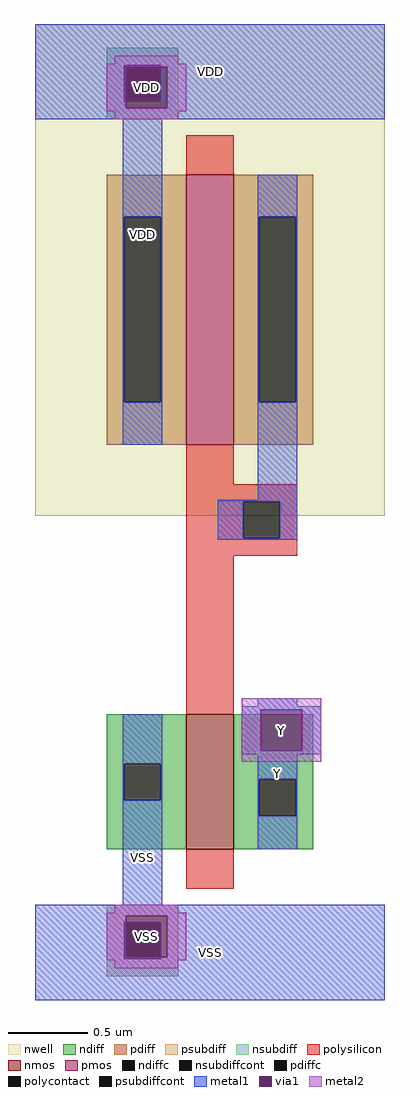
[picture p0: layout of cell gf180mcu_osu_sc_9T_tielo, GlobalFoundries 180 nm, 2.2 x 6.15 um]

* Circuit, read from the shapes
.subckt gf180mcu_osu_sc_9T_tielo Y VDD VSS
XM1 Y n1 VSS VSS nfet_03v3 w=0.85u l=0.3u
XM2 n1 n1 VDD VDD pfet_03v3 w=1.7u l=0.3u
.ends

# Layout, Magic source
magic
tech gf180mcuC
magscale 1 10
<< nwell >>
rect 0 610 440 1230
<< nmos >>
rect 190 190 250 360
<< pmos >>
rect 190 700 250 1040
<< ndiff >>
rect 90 298 190 360
rect 90 252 112 298
rect 158 252 190 298
rect 90 190 190 252
rect 250 278 350 360
rect 250 232 282 278
rect 328 232 350 278
rect 250 190 350 232
<< pdiff >>
rect 90 987 190 1040
rect 90 753 112 987
rect 158 753 190 987
rect 90 700 190 753
rect 250 987 350 1040
rect 250 753 282 987
rect 328 753 350 987
rect 250 700 350 753
<< ndiffc >>
rect 112 252 158 298
rect 282 232 328 278
<< pdiffc >>
rect 112 753 158 987
rect 282 753 328 987
<< psubdiff >>
rect 90 98 180 120
rect 90 52 112 98
rect 158 52 180 98
rect 90 30 180 52
<< nsubdiff >>
rect 90 1178 180 1200
rect 90 1132 112 1178
rect 158 1132 180 1178
rect 90 1110 180 1132
<< psubdiffcont >>
rect 112 52 158 98
<< nsubdiffcont >>
rect 112 1132 158 1178
<< polysilicon >>
rect 190 1040 250 1090
rect 190 650 250 700
rect 190 628 330 650
rect 190 582 262 628
rect 308 582 330 628
rect 190 560 330 582
rect 190 360 250 560
rect 190 140 250 190
<< polycontact >>
rect 262 582 308 628
<< metal1 >>
rect 0 1178 440 1230
rect 0 1132 112 1178
rect 158 1176 440 1178
rect 0 1124 114 1132
rect 166 1124 440 1176
rect 0 1110 440 1124
rect 110 987 160 1110
rect 110 753 112 987
rect 158 753 160 987
rect 110 700 160 753
rect 280 987 330 1040
rect 280 753 282 987
rect 328 753 330 987
rect 280 630 330 753
rect 230 628 330 630
rect 230 582 262 628
rect 308 582 330 628
rect 230 580 330 582
rect 280 370 330 380
rect 260 366 360 370
rect 110 298 160 360
rect 260 314 284 366
rect 336 314 360 366
rect 260 310 360 314
rect 110 252 112 298
rect 158 252 160 298
rect 110 120 160 252
rect 280 278 330 310
rect 280 232 282 278
rect 328 232 330 278
rect 280 190 330 232
rect 0 106 440 120
rect 0 98 114 106
rect 0 52 112 98
rect 166 54 440 106
rect 158 52 440 54
rect 0 0 440 52
<< via1 >>
rect 114 1132 158 1176
rect 158 1132 166 1176
rect 114 1124 166 1132
rect 284 314 336 366
rect 114 98 166 106
rect 114 54 158 98
rect 158 54 166 98
<< metal2 >>
rect 100 1180 180 1190
rect 90 1176 190 1180
rect 90 1124 114 1176
rect 166 1124 190 1176
rect 90 1120 190 1124
rect 100 1110 180 1120
rect 260 366 360 380
rect 260 314 284 366
rect 336 314 360 366
rect 260 300 360 314
rect 100 110 180 120
rect 90 106 190 110
rect 90 54 114 106
rect 166 54 190 106
rect 90 50 190 54
rect 100 40 180 50
<< labels >>
rlabel metal2 s 100 1110 180 1190 4 VDD
port 4 nsew power bidirectional abutment
rlabel metal2 s 100 40 180 120 4 VSS
port 5 nsew ground bidirectional
rlabel metal2 s 260 300 360 380 4 Y
port 1 nsew signal output
rlabel metal2 s 90 1120 190 1180 1 VDD
port 4 nsew power bidirectional abutment
rlabel metal1 s 110 700 160 1230 1 VDD
port 4 nsew power bidirectional abutment
rlabel metal1 s 0 1110 440 1230 1 VDD
port 4 nsew power bidirectional abutment
rlabel metal2 s 90 50 190 110 1 VSS
port 5 nsew ground bidirectional
rlabel metal1 s 110 0 160 360 1 VSS
port 5 nsew ground bidirectional
rlabel metal1 s 0 0 440 120 1 VSS
port 5 nsew ground bidirectional
rlabel metal1 s 280 190 330 380 1 Y
port 1 nsew signal output
rlabel metal1 s 260 310 360 370 1 Y
port 1 nsew signal output
<< properties >>
string FIXED_BBOX 0 0 440 1230
string GDS_END 445100
string GDS_FILE $PDKPATH/libs.ref/gf180mcu_osu_sc_9T/gds/gf180mcu_osu_sc_9T.gds
string GDS_START 441970
string LEFclass CORE
string LEFsite GF018hv5v_mcu_sc7
string LEFsymmetry X Y
<< end >>
